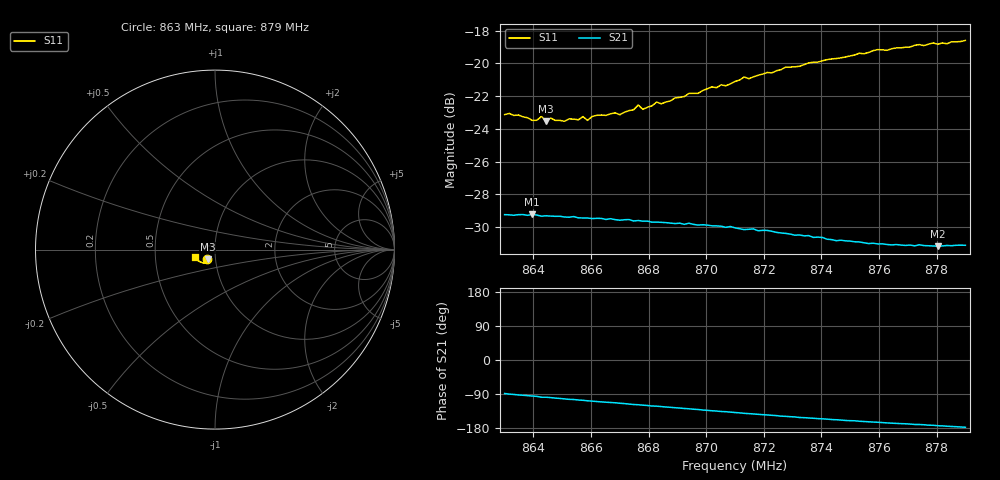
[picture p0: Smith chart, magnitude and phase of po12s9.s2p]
# HZ S RI R 50
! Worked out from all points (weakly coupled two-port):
!   101 points, 863 MHz to 879 MHz, reference 50 ohm
!   highest |S21| = -29.23 dB at 863.96 MHz (marker M1); lowest = -31.2 dB at 878.04 MHz (marker M2)
!   lowest |S11| = -23.5 dB at 864.44 MHz (marker M3), VSWR 1.14, Z = 45.9 - j4.91 ohm
!   |S11| at or under -10 dB: start of sweep to end of sweep
!   S12 and S22 are empty: the file has one direction only
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8.63e8  -0.0438 -0.0543  0.00101 -0.0345  0 0  0 0
8.6348e8  -0.0433 -0.0544  -0.00137 -0.0345  0 0  0 0
8.6396e8  -0.0391 -0.0543  -0.00306 -0.0344  0 0  0 0
8.6428e8  -0.0396 -0.0563  -0.00493 -0.0338  0 0  0 0
8.6444e8  -0.0399 -0.0532  -0.00492 -0.0339  0 0  0 0
8.646e8  -0.0384 -0.0562  -0.00546 -0.0337  0 0  0 0
8.6508e8  -0.0357 -0.0561  -0.00745 -0.0331  0 0  0 0
8.6572e8  -0.0358 -0.0587  -0.00949 -0.0324  0 0  0 0
8.6588e8  -0.0393 -0.0542  -0.0102 -0.0321  0 0  0 0
8.662e8  -0.0359 -0.0593  -0.0113 -0.0317  0 0  0 0
8.67e8  -0.0348 -0.0603  -0.0136 -0.0303  0 0  0 0
8.6748e8  -0.0344 -0.0634  -0.0152 -0.0293  0 0  0 0
8.6764e8  -0.0367 -0.065  -0.0156 -0.0292  0 0  0 0
8.678e8  -0.0351 -0.0633  -0.0161 -0.0288  0 0  0 0
8.6828e8  -0.0379 -0.066  -0.0173 -0.0278  0 0  0 0
8.6844e8  -0.0367 -0.0656  -0.0178 -0.0275  0 0  0 0
8.71e8  -0.0491 -0.0731  -0.0236 -0.0208  0 0  0 0
8.7132e8  -0.0515 -0.0748  -0.0241 -0.0197  0 0  0 0
8.7372e8  -0.0682 -0.0741  -0.0264 -0.013  0 0  0 0
8.7644e8  -0.0923 -0.0612  -0.0272 -0.00643  0 0  0 0
8.7804e8  -0.1035 -0.0485  -0.0275 -0.00318  0 0  0 0
8.79e8  -0.1103 -0.0402  -0.0278 -0.00124  0 0  0 0
